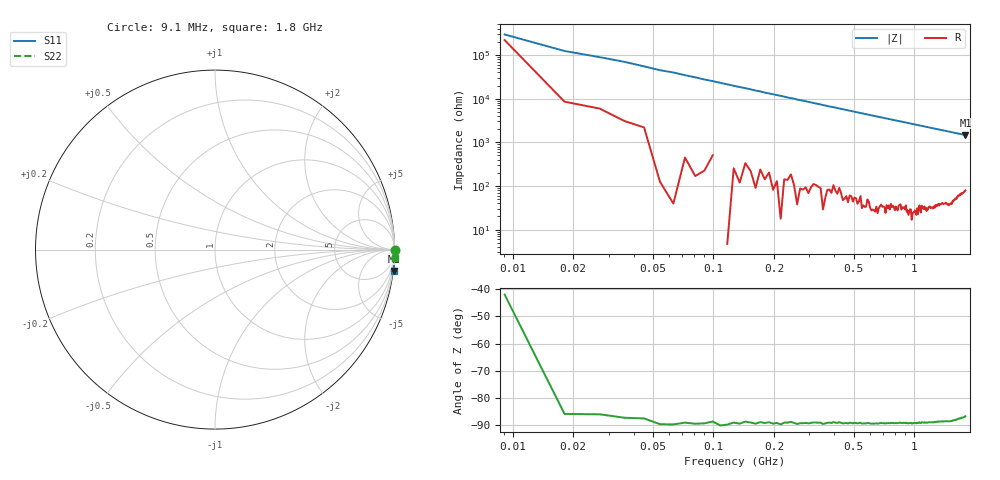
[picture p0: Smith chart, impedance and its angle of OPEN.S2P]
!Agilent Technologies,E5071C,MY46101151,A.11.02
!Date: Sun Sep 24 15:28:15 2017
!Data & Calibration Information:
!Freq	S11:SOLT2(ON)	S21:SOLT2(ON)	S12:SOLT2(ON)	S22:SOLT2(ON)
!PortZ  Port1:50+j0  Port2:50+j0
!Above PortZ is port z conversion or system Z0 setting when saving the data.
!When reading, reference impedance value at option line is always used.
# Hz S RI R 50
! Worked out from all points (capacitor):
!   200 points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, 9.1 MHz to 1.8 GHz, reference 50 ohm
!   read as one part in series: C = 66 fF near 18.1 MHz
!   lowest |Z| = 1.47 kohm at 1.8 GHz (marker M1)
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9099500  1.001 -0.00059  0.000253 0.000226  -0.000374 0.000191  1.001 -0.000924
1.8099e7  1.002 -0.00286  5.76e-05 0.000808  -3.79e-05 0.000791  1.001 -0.00163
2.70985e7  1.001 -0.00413  7.81e-05 0.00112  -1.06e-06 0.00106  1.001 -0.00235
3.6098e7  1.001 -0.00546  7.02e-05 0.00144  3.89e-05 0.00151  1 -0.0039
4.50975e7  1.001 -0.00708  8.34e-05 0.00182  6.01e-05 0.00186  1 -0.00475
5.4097e7  1 -0.00787  2.09e-05 0.00223  8.94e-06 0.0022  1 -0.00533
7.2096e7  1.001 -0.0104  6.22e-05 0.0029  5.86e-05 0.00292  1 -0.0065
9.0095e7  1 -0.0133  6.84e-05 0.00364  3e-05 0.00357  0.9997 -0.00786
1.170935e8  0.9991 -0.0162  6.38e-05 0.00472  0.000169 0.00471  0.9993 -0.0104
1.62091e8  0.9997 -0.0214  0.000153 0.00652  0.000209 0.0065  0.9997 -0.0138
2.16088e8  0.9997 -0.0283  0.00021 0.0086  0.000337 0.00863  0.9999 -0.0174
2.34087e8  0.9996 -0.0299  0.000349 0.0094  0.000273 0.00921  0.9997 -0.0184
2.70085e8  0.9994 -0.0341  0.000397 0.0108  0.000446 0.0108  1 -0.0206
3.150825e8  0.9987 -0.0388  0.000572 0.0126  0.000541 0.0125  0.9998 -0.0242
3.78079e8  0.9991 -0.046  0.00075 0.0151  0.000702 0.0149  0.9994 -0.0282
4.50075e8  0.9988 -0.0536  0.000927 0.0178  0.000896 0.0178  1 -0.0324
6.12066e8  0.9975 -0.0688  0.00147 0.024  0.00153 0.0239  0.9995 -0.0407
7.290595e8  0.9979 -0.0779  0.00206 0.0285  0.00204 0.0284  0.9998 -0.0451
9.090495e8  0.9973 -0.0923  0.00296 0.0351  0.00293 0.0352  1 -0.0506
1.206033e9  0.9967 -0.1087  0.0045 0.0462  0.00458 0.0461  1.002 -0.0565
1.503016e9  0.9979 -0.1173  0.0062 0.0571  0.00639 0.057  1.004 -0.0552
1.8e9  0.9978 -0.1197  0.00936 0.0676  0.00932 0.0676  1.005 -0.0475
